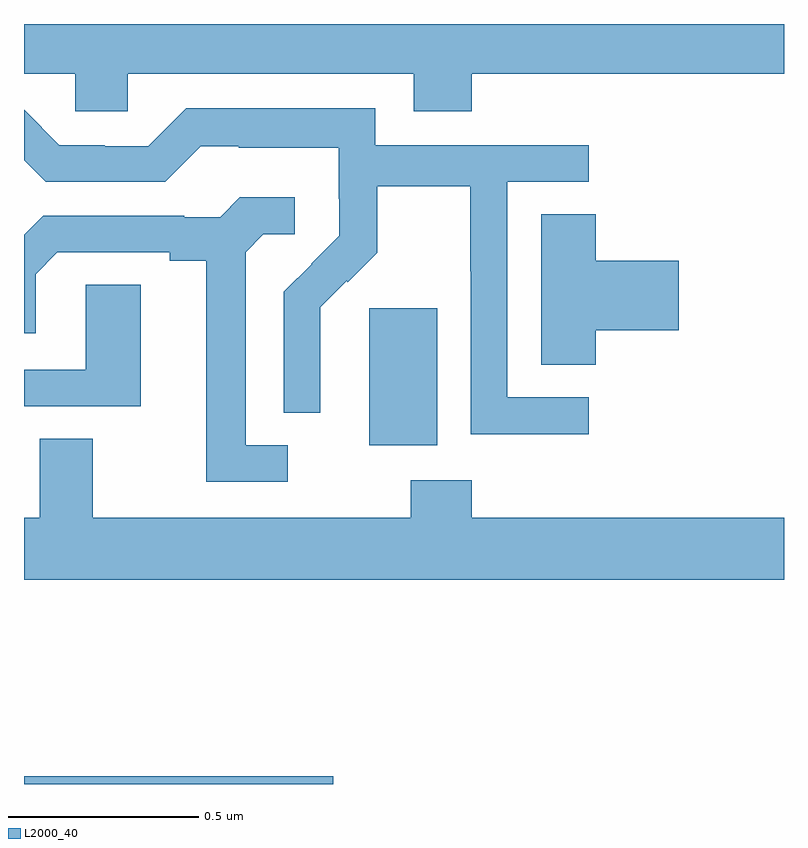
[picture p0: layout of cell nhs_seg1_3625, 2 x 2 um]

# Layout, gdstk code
import gdstk
lib = gdstk.Library(unit=1e-6, precision=1e-09)
def R(c, l, rs):  # rectangles x0, y0, x1, y1
    for r in rs: c.add(gdstk.rectangle(r[:2], r[2:], *l))
def P(c, l, *ps):  # polygons
    for p in ps: c.add(gdstk.Polygon(p, *l))
L2000_40 = (2000, 40)

nhs_seg1_3625 = lib.new_cell('nhs_seg1_3625')
R(nhs_seg1_3625, L2000_40, [(156,547.199,156.814,547.22), (156.908,548.09,157.087,548.451)])
P(nhs_seg1_3625, L2000_40, [(157.178,549.068),(158,549.068),(158,549.199),(156,549.199),(156,549.068),(156.135,549.068),(156.135,548.97),(156.273,548.97),(156.273,549.068),(157.025,549.068),(157.025,548.969),(157.178,548.969)],
  [(157.486,548.217),(157.272,548.217),(157.272,548.784),(157.486,548.784),(157.486,548.88),(156.924,548.88),(156.924,548.977),(156.427,548.977),(156.327,548.877),(156.212,548.877),(156.212,548.88),(156.093,548.88),(156,548.973),(156,548.841),(156.057,548.784),(156.372,548.784),(156.465,548.877),(156.565,548.877),(156.565,548.873),(156.828,548.873),(156.828,548.739),(156.83,548.739),(156.83,548.642),(156.756,548.568),(156.757,548.567),(156.684,548.494),(156.684,548.176),(156.78,548.176),(156.78,548.33),(156.779,548.33),(156.779,548.453),(156.849,548.523),(156.852,548.52),(156.929,548.597),(156.929,548.772),(157.174,548.772),(157.174,548.548),(157.176,548.548),(157.176,548.119),(157.486,548.119)],
  [(156.694,548.091),(156.583,548.091),(156.583,548.599),(156.63,548.646),(156.712,548.646),(156.712,548.743),(156.568,548.743),(156.516,548.691),(156.422,548.691),(156.422,548.694),(156.05,548.694),(156,548.644),(156,548.385),(156.031,548.385),(156.031,548.541),(156.088,548.598),(156.383,548.598),(156.383,548.576),(156.479,548.576),(156.479,547.995),(156.694,547.995)],
  [(157.505,548.393),(157.723,548.393),(157.723,548.576),(157.505,548.576),(157.505,548.699),(157.361,548.699),(157.361,548.302),(157.505,548.302)],
  [(156.307,548.513),(156.162,548.513),(156.162,548.289),(156,548.289),(156,548.193),(156.307,548.193)],
  [(158,547.9),(157.178,547.9),(157.178,547.999),(157.018,547.999),(157.018,547.9),(156.181,547.9),(156.181,548.108),(156.041,548.108),(156.041,547.9),(156,547.9),(156,547.736),(158,547.736)])

lib.write_gds('nhs_seg1_3625.gds')
